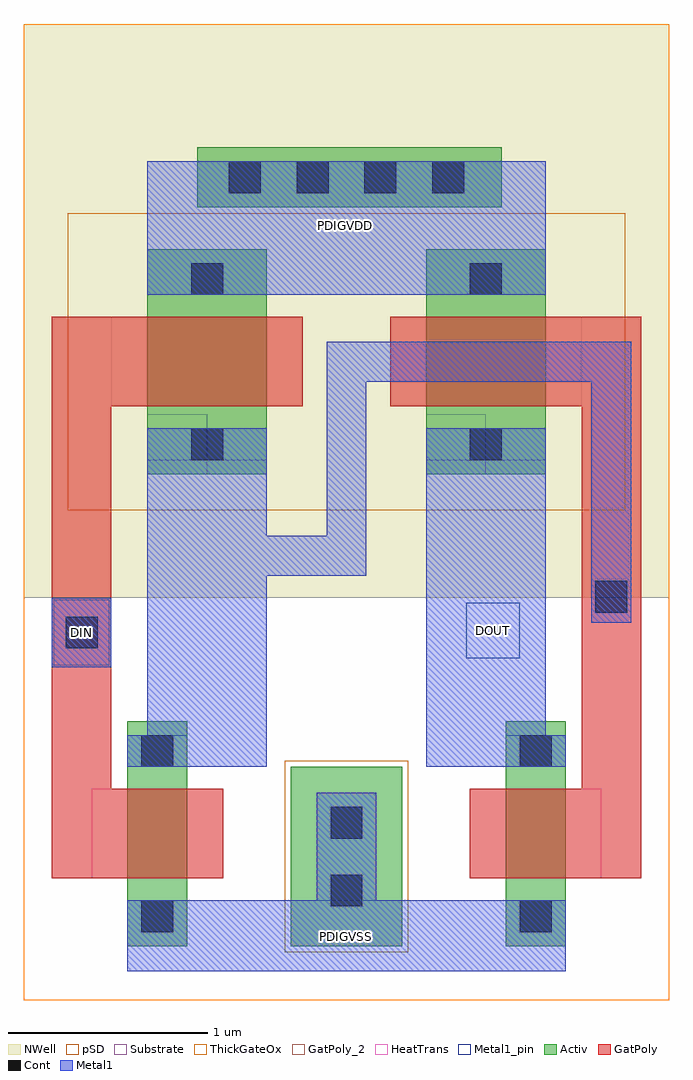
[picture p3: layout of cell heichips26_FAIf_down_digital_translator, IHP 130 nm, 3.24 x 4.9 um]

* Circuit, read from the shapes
.subckt heichips26_FAIf_down_digital_translator DIN DOUT PDIGVDD PDIGVSS
XM1 n1 DIN PDIGVSS PDIGVSS sg13_hv_nmos w=0.3u l=0.45u
XM2 DOUT n1 PDIGVSS PDIGVSS sg13_hv_nmos w=0.3u l=0.45u
XM3 PDIGVDD DIN n1 PDIGVDD sg13_hv_pmos w=0.6u l=0.45u
XM4 PDIGVDD n1 DOUT PDIGVDD sg13_hv_pmos w=0.6u l=0.45u
.ends

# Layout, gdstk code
from math import pi, radians
import gdstk
lib = gdstk.Library(unit=1e-6, precision=1e-09)
def R(c, l, rs):  # rectangles x0, y0, x1, y1
    for r in rs: c.add(gdstk.rectangle(r[:2], r[2:], *l))
def A(c, l, x, y, w, h, nx, ny, dx, dy):  # array of equal rectangles
    R(c, l, [(x+i*dx, y+j*dy, x+i*dx+w, y+j*dy+h) for i in range(nx) for j in range(ny)])
Activ = (1, 0)
GatPoly = (5, 0)
GatPoly_2 = (5, 2)
Cont = (6, 0)
Metal1 = (8, 0)
Metal1_pin = (8, 2)
pSD = (14, 0)
NWell = (31, 0)
Substrate = (40, 0)
ThickGateOx = (44, 0)
HeatTrans = (51, 0)

heichips26_faif_dlt_pmos = lib.new_cell('heichips26_FAIf_dlt_pmosHV')
R(heichips26_faif_dlt_pmos, Activ, [(0,0,0.3,0.3), (0,0,1.13,0.6), (0.83,0,1.13,0.3)])
R(heichips26_faif_dlt_pmos, GatPoly, [(0.34,-0.18,0.79,0.78)])
R(heichips26_faif_dlt_pmos, GatPoly_2, [(0.34,-0.18,0.79,0.78)])
R(heichips26_faif_dlt_pmos, Cont, [(0.07,0.22,0.23,0.38), (0.9,0.22,1.06,0.38)])
R(heichips26_faif_dlt_pmos, Metal1, [(0.07,0,0.23,0.6), (0.9,0,1.06,0.6)])
R(heichips26_faif_dlt_pmos, Metal1_pin, [(0.07,0,0.23,0.6), (0.9,0,1.06,0.6)])
R(heichips26_faif_dlt_pmos, pSD, [(-0.18,-0.4,1.31,1)])
R(heichips26_faif_dlt_pmos, NWell, [(-0.62,-0.62,1.75,1.22)])
R(heichips26_faif_dlt_pmos, Substrate, [(0.83,0,1.13,0.3)])
R(heichips26_faif_dlt_pmos, ThickGateOx, [(-0.62,-0.62,1.75,1.22)])
R(heichips26_faif_dlt_pmos, HeatTrans, [(0.34,-0.18,0.79,0.78)])
heichips26_faif_dlt_pmos.add(gdstk.Label('pmosHV', (0.565,0.3), layer=63, texttype=0))
heichips26_faif_dlt_pmos.add(gdstk.Label('pmos', (0.565,0.3), layer=51, texttype=0))

heichips26_faif_dlt_nmos = lib.new_cell('heichips26_FAIf_dlt_nmosHV')
R(heichips26_faif_dlt_nmos, Activ, [(0,0,0.3,0.3), (0,0,1.13,0.3), (0.83,0,1.13,0.3)])
R(heichips26_faif_dlt_nmos, GatPoly, [(0.34,-0.18,0.79,0.48)])
R(heichips26_faif_dlt_nmos, GatPoly_2, [(0.34,-0.18,0.79,0.48)])
R(heichips26_faif_dlt_nmos, Cont, [(0.07,0.07,0.23,0.23), (0.9,0.07,1.06,0.23)])
R(heichips26_faif_dlt_nmos, Metal1, [(0.07,0,0.23,0.3), (0.9,0,1.06,0.3)])
R(heichips26_faif_dlt_nmos, Metal1_pin, [(0.07,0,0.23,0.3), (0.9,0,1.06,0.3)])
R(heichips26_faif_dlt_nmos, ThickGateOx, [(-0.27,-0.52,1.4,0.82)])
R(heichips26_faif_dlt_nmos, HeatTrans, [(0.34,-0.18,0.79,0.48)])
heichips26_faif_dlt_nmos.add(gdstk.Label('nmosHV', (0.565,0.15), layer=63, texttype=0))
heichips26_faif_dlt_nmos.add(gdstk.Label('nmosHV', (0.565,0.15), layer=51, texttype=0))

heichips26_faif_dlt_via_ = lib.new_cell('heichips26_FAIf_dlt_via_stack')
R(heichips26_faif_dlt_via_, Activ, [(-0.66,-0.15,0.66,0.15)])
A(heichips26_faif_dlt_via_, Cont, -0.59, -0.08, 0.16, 0.16, 4, 1, 0.34, 0)
R(heichips26_faif_dlt_via_, Metal1, [(-0.64,-0.08,0.64,0.08)])

c_heichips26_faif_dlt_via_ = lib.new_cell('heichips26_FAIf_dlt_via_stack_2')
R(c_heichips26_faif_dlt_via_, Activ, [(-0.32,-0.15,0.32,0.15)])
R(c_heichips26_faif_dlt_via_, Cont, [(-0.25,-0.08,-0.09,0.08), (0.09,-0.08,0.25,0.08)])
R(c_heichips26_faif_dlt_via_, Metal1, [(-0.3,-0.08,0.3,0.08)])

c_heichips26_faif_dlt_via__ = lib.new_cell('heichips26_FAIf_dlt_via_stack_4')
R(c_heichips26_faif_dlt_via__, GatPoly, [(-0.15,-0.15,0.15,0.15)])
R(c_heichips26_faif_dlt_via__, Cont, [(-0.08,-0.08,0.08,0.08)])
R(c_heichips26_faif_dlt_via__, Metal1, [(-0.13,-0.08,0.13,0.08)])

heichips26_faif_down_dig = lib.new_cell('heichips26_FAIf_down_digital_translator')
R(heichips26_faif_down_dig, Activ, [(1.34,0.27,1.9,1.17), (0.87,3.98,2.4,4.28)])
R(heichips26_faif_down_dig, GatPoly, [(0.14,0.61,0.44,3.43), (2.8,0.61,3.1,3.43)])
R(heichips26_faif_down_dig, Metal1, [(0.52,0.145,2.72,0.5), (1.47,0.5,1.77,1.04), (0.62,1.17,1.22,2.71), (2.02,1.17,2.62,2.71), (0.14,1.67,0.44,2.02), (0.62,3.54,2.62,4.21)])
R(heichips26_faif_down_dig, Metal1_pin, [(0.52,0.145,2.72,0.5), (0.15,1.68,0.43,2.01), (2.22,1.715,2.49,1.995), (0.62,3.54,2.62,4.21)])
R(heichips26_faif_down_dig, pSD, [(1.31,0.24,1.93,1.2)])
R(heichips26_faif_down_dig, NWell, [(0,4.39,3.24,4.9)])
R(heichips26_faif_down_dig, ThickGateOx, [(1.34,0,1.9,1.67), (0,1.67,3.24,2.02), (0,4.39,3.24,4.9)])
heichips26_faif_down_dig.add(gdstk.FlexPath([(1.22,2.23),(1.62,2.23),(1.62,3.205),(2.95,3.205),(2.95,1.895),(2.95,1.895)], 0.2, ends="flush", simple_path=True, layer=8, datatype=0))  # Metal1
heichips26_faif_down_dig.add(gdstk.Reference(heichips26_faif_dlt_pmos, (2.02,3.77), rotation=3*pi/2))
heichips26_faif_down_dig.add(gdstk.Reference(heichips26_faif_dlt_pmos, (0.62,3.77), rotation=3*pi/2))
heichips26_faif_down_dig.add(gdstk.Reference(heichips26_faif_dlt_nmos, (2.42,1.4), rotation=3*pi/2))
heichips26_faif_down_dig.add(gdstk.Reference(heichips26_faif_dlt_nmos, (0.52,1.4), rotation=3*pi/2))
heichips26_faif_down_dig.add(gdstk.Reference(heichips26_faif_dlt_via_, (1.62,4.13)))
heichips26_faif_down_dig.add(gdstk.Reference(c_heichips26_faif_dlt_via_, (1.62,0.72), rotation=pi/2))
heichips26_faif_down_dig.add(gdstk.Reference(c_heichips26_faif_dlt_via__, (0.29,1.845)))
heichips26_faif_down_dig.add(gdstk.Reference(c_heichips26_faif_dlt_via__, (2.95,2.025), rotation=pi/2))
heichips26_faif_down_dig.add(gdstk.Label('PDIGVDD', (1.615,3.89), layer=8, texttype=25))
heichips26_faif_down_dig.add(gdstk.Label('DIN', (0.29,1.845), layer=8, texttype=25))
heichips26_faif_down_dig.add(gdstk.Label('PDIGVSS', (1.62,0.32), layer=8, texttype=25))
heichips26_faif_down_dig.add(gdstk.Label('DOUT', (2.355,1.855), layer=8, texttype=25))

lib.write_gds('heichips26_FAIf_down_digital_translator.gds')
